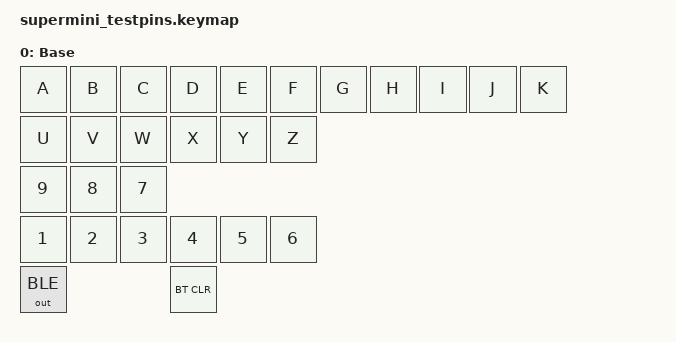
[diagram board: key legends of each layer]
/*
 * Copyright (c) 2020 The ZMK Contributors
 *
 * SPDX-License-Identifier: MIT
 */

#include <behaviors.dtsi>
#include <dt-bindings/zmk/keys.h>
#include <dt-bindings/zmk/bt.h>
#include <dt-bindings/zmk/outputs.h>




/ { 
    behaviors {
        td: tapdance {
            compatible = "zmk,behavior-hold-tap";
            label = "TAPDANCE";
            #binding-cells = <2>;
            tapping-term-ms = <190>;
            quick-tap-ms = <250>;
            flavor = "tap-preferred";
            bindings = <&kp>, <&kp>;
        };
    };

    keymap {
        compatible = "zmk,keymap";
        
        base {
            label = "Base";
            bindings = <
             &kp A  &kp B  &kp C  &kp D  &kp E  &kp F  &kp G  &kp H  &kp I  &kp J  &kp K
             &kp U  &kp V  &kp W  &kp X  &kp Y  &kp Z  
             &kp N9 &kp N8 &kp N7
             &kp N1 &kp N2 &kp N3 &kp N4 &kp N5 &kp N6
             &out OUT_BLE         &bt BT_CLR
            >;
        };
        
    };
};
